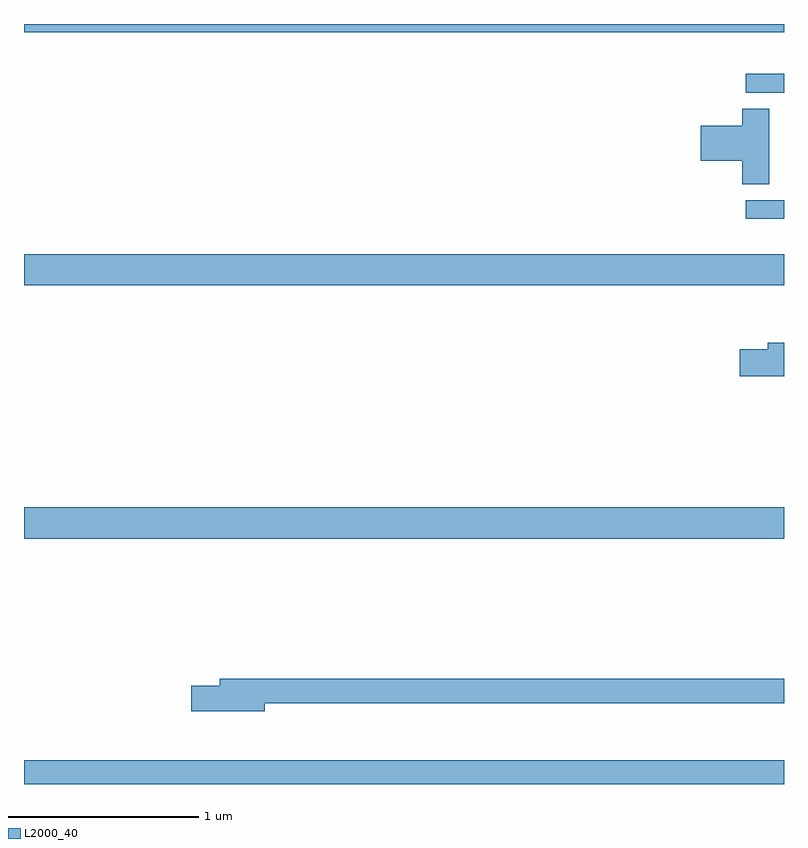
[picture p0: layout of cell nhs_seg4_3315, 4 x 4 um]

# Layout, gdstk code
import gdstk
lib = gdstk.Library(unit=1e-6, precision=1e-09)
def R(c, l, rs):  # rectangles x0, y0, x1, y1
    for r in rs: c.add(gdstk.rectangle(r[:2], r[2:], *l))
def P(c, l, *ps):  # polygons
    for p in ps: c.add(gdstk.Polygon(p, *l))
L2000_40 = (2000, 40)

nhs_seg4_3315 = lib.new_cell('nhs_seg4_3315')
R(nhs_seg4_3315, L2000_40, [(287,756.9,291,757.024), (287,758.192,291,758.356), (287,759.524,291,759.688), (290.799,759.876,291,759.972), (290.799,760.539,291,760.638), (287,760.856,291,760.9)])
P(nhs_seg4_3315, L2000_40, [(290.923,760.454),(290.78,760.454),(290.78,760.364),(290.562,760.364),(290.562,760.181),(290.78,760.181),(290.78,760.057),(290.923,760.057)],
  [(291,759.223),(290.915,759.223),(290.915,759.189),(290.766,759.189),(290.766,759.047),(291,759.047)],
  [(288.268,757.326),(291,757.326),(291,757.454),(288.029,757.454),(288.029,757.418),(287.88,757.418),(287.88,757.283),(288.268,757.283)])

lib.write_gds('nhs_seg4_3315.gds')
